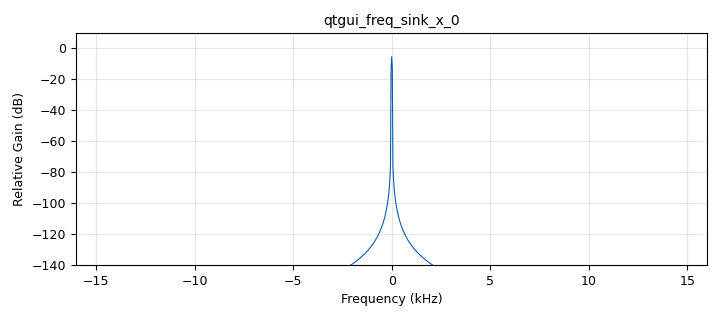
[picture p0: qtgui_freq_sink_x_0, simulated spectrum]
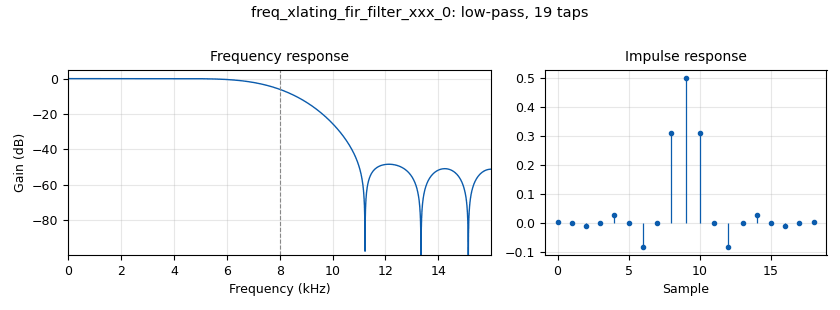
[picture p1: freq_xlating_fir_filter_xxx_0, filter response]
options:
  parameters:
    generate_options: qt_gui
    id: low_pass_filter_example
    output_language: python
    title: Not titled yet
  states: {}

blocks:
- name: N
  id: variable
  parameters:
    value: '1024'
  states: {}
- name: frequency
  id: variable_qtgui_range
  parameters:
    start: '-samp_rate/2'
    step: '1'
    stop: samp_rate/2
    value: '0'
  states: {}
- name: lowPassTaps
  id: variable_low_pass_filter_taps
  parameters:
    cutoff_freq: samp_rate/4
    gain: '1.0'
    samp_rate: samp_rate
    width: samp_rate/8
    win: window.WIN_HAMMING
  states: {}
- name: samp_rate
  id: variable
  parameters:
    value: '32000'
  states: {}
- name: analog_sig_source_x_0
  id: analog_sig_source_x
  parameters:
    amp: '1'
    freq: frequency
    offset: '0'
    phase: '0'
    samp_rate: samp_rate
    type: complex
    waveform: analog.GR_COS_WAVE
  states: {}
- name: blocks_throttle2_0
  id: blocks_throttle2
  parameters:
    samples_per_second: samp_rate
    type: complex
  states: {}
- name: freq_xlating_fir_filter_xxx_0
  id: freq_xlating_fir_filter_xxx
  parameters:
    center_freq: '0'
    decim: '1'
    samp_rate: samp_rate
    taps: lowPassTaps
    type: ccc
  states: {}
- name: qtgui_freq_sink_x_0
  id: qtgui_freq_sink_x
  parameters:
    bw: samp_rate
    fc: '0'
    fftsize: N
    type: complex
    wintype: window.WIN_HAMMING
  states: {}

connections:
- [analog_sig_source_x_0, '0', freq_xlating_fir_filter_xxx_0, '0']
- [blocks_throttle2_0, '0', qtgui_freq_sink_x_0, '0']
- [freq_xlating_fir_filter_xxx_0, '0', blocks_throttle2_0, '0']

metadata:
  file_format: 1
  grc_version: 3.10.10.0
